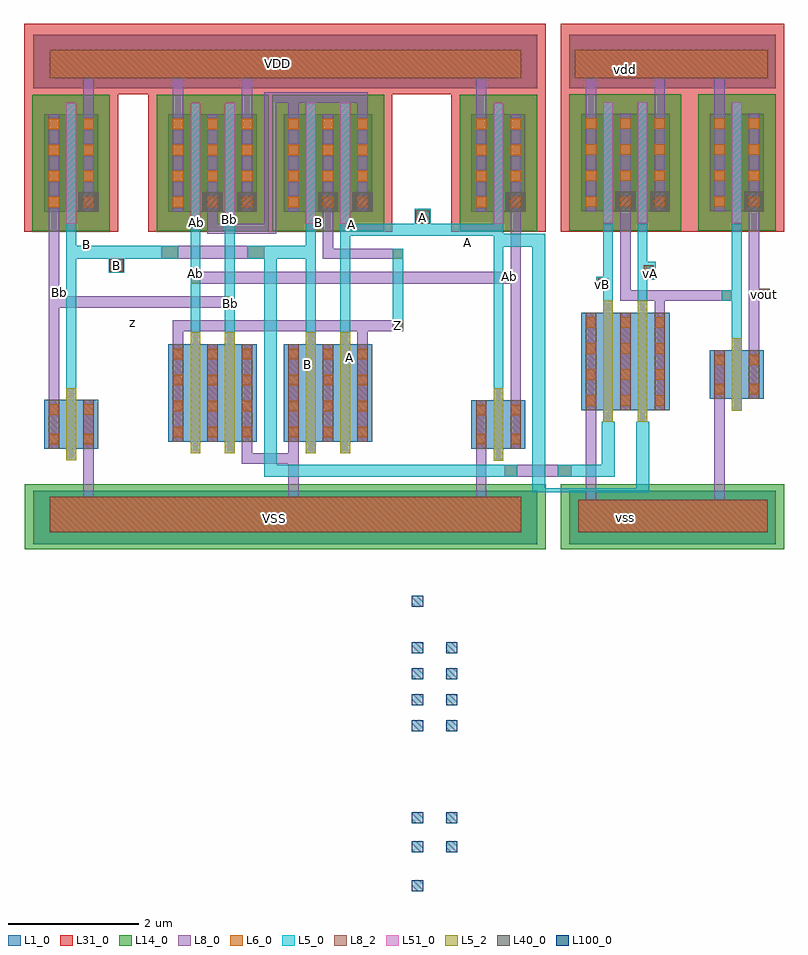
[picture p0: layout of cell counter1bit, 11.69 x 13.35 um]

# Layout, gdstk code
from math import pi, radians
import gdstk
lib = gdstk.Library(unit=1e-6, precision=5e-09)
def R(c, l, rs):  # rectangles x0, y0, x1, y1
    for r in rs: c.add(gdstk.rectangle(r[:2], r[2:], *l))
def A(c, l, x, y, w, h, nx, ny, dx, dy):  # array of equal rectangles
    R(c, l, [(x+i*dx, y+j*dy, x+i*dx+w, y+j*dy+h) for i in range(nx) for j in range(ny)])
def P(c, l, *ps):  # polygons
    for p in ps: c.add(gdstk.Polygon(p, *l))
L1_0 = (1, 0)
L5_0 = (5, 0)
L5_2 = (5, 2)
L6_0 = (6, 0)
L8_0 = (8, 0)
L8_2 = (8, 2)
L14_0 = (14, 0)
L31_0 = (31, 0)
L40_0 = (40, 0)
L51_0 = (51, 0)
L100_0 = (100, 0)

nmos_1 = lib.new_cell('nmos$1')
R(nmos_1, L1_0, [(0,0,0.3,0.3), (0,0,0.83,0.75), (0.53,0,0.83,0.3)])
R(nmos_1, L5_0, [(0.34,-0.18,0.49,0.93)])
R(nmos_1, L5_2, [(0.34,-0.18,0.49,0.93)])
R(nmos_1, L6_0, [(0.07,0.07,0.23,0.23), (0.6,0.07,0.76,0.23), (0.07,0.52,0.23,0.68), (0.6,0.52,0.76,0.68)])
R(nmos_1, L8_0, [(0.07,0,0.23,0.75), (0.6,0,0.76,0.75)])
R(nmos_1, L8_2, [(0.07,0,0.23,0.75), (0.6,0,0.76,0.75)])
R(nmos_1, L51_0, [(0.34,-0.18,0.49,0.93)])
nmos_1.add(gdstk.Label('nmos', (0.415,0.375), layer=63, texttype=0))
nmos_1.add(gdstk.Label('nmos', (0.415,0.375), layer=51, texttype=0))

pmos_1 = lib.new_cell('pmos$1')
R(pmos_1, L1_0, [(0,0,0.3,0.3), (0,0,0.83,1.5), (0.53,0,0.83,0.3)])
R(pmos_1, L5_0, [(0.34,-0.18,0.49,1.68), (0.34,-0.18,0.49,1.68)])
A(pmos_1, L6_0, 0.07, 0.07, 0.16, 0.16, 1, 4, 0, 0.4)
A(pmos_1, L6_0, 0.6, 0.07, 0.16, 0.16, 1, 4, 0, 0.4)
R(pmos_1, L8_0, [(0.07,0,0.23,1.5), (0.07,0,0.23,1.5), (0.6,0,0.76,1.5), (0.6,0,0.76,1.5)])
R(pmos_1, L14_0, [(-0.18,-0.3,1.01,1.8)])
R(pmos_1, L31_0, [(-0.31,-0.31,1.14,1.81)])
R(pmos_1, L40_0, [(0.53,0,0.83,0.3)])
R(pmos_1, L51_0, [(0.34,-0.18,0.49,1.68)])
pmos_1.add(gdstk.Label('pmos', (0.415,0.75), layer=63, texttype=0))
pmos_1.add(gdstk.Label('pmos', (0.415,0.75), layer=51, texttype=0))

nmos = lib.new_cell('nmos')
R(nmos, L1_0, [(0,0,0.3,0.3), (0,0,0.83,1.5), (0.53,0,0.83,0.3)])
R(nmos, L5_0, [(0.34,-0.18,0.49,1.68)])
R(nmos, L5_2, [(0.34,-0.18,0.49,1.68)])
A(nmos, L6_0, 0.07, 0.07, 0.16, 0.16, 1, 4, 0, 0.4)
A(nmos, L6_0, 0.6, 0.07, 0.16, 0.16, 1, 4, 0, 0.4)
R(nmos, L8_0, [(0.07,0,0.23,1.5), (0.6,0,0.76,1.5)])
R(nmos, L8_2, [(0.07,0,0.23,1.5), (0.6,0,0.76,1.5)])
R(nmos, L51_0, [(0.34,-0.18,0.49,1.68)])
nmos.add(gdstk.Label('nmos', (0.415,0.75), layer=63, texttype=0))
nmos.add(gdstk.Label('nmos', (0.415,0.75), layer=51, texttype=0))

pmos = lib.new_cell('pmos')
R(pmos, L1_0, [(0,0,0.3,0.3), (0,0,0.83,1.5), (0.53,0,0.83,0.3)])
R(pmos, L5_0, [(0.34,-0.18,0.49,1.68), (0.34,-0.18,0.49,1.68)])
A(pmos, L6_0, 0.07, 0.07, 0.16, 0.16, 1, 4, 0, 0.4)
A(pmos, L6_0, 0.6, 0.07, 0.16, 0.16, 1, 4, 0, 0.4)
R(pmos, L8_0, [(0.07,0,0.23,1.5), (0.07,0,0.23,1.5), (0.6,0,0.76,1.5), (0.6,0,0.76,1.5)])
R(pmos, L14_0, [(-0.18,-0.3,1.01,1.8)])
R(pmos, L31_0, [(-0.31,-0.31,1.14,1.81)])
R(pmos, L40_0, [(0.53,0,0.83,0.3)])
R(pmos, L51_0, [(0.34,-0.18,0.49,1.68)])
pmos.add(gdstk.Label('pmos', (0.415,0.75), layer=63, texttype=0))
pmos.add(gdstk.Label('pmos', (0.415,0.75), layer=51, texttype=0))

pmos_1_1 = lib.new_cell('pmos$1$1')
R(pmos_1_1, L1_0, [(0,0,0.3,0.3), (0,0,0.83,1.5), (0.53,0,0.83,0.3)])
R(pmos_1_1, L5_0, [(0.34,-0.18,0.49,1.68), (0.34,-0.18,0.49,1.68)])
A(pmos_1_1, L6_0, 0.07, 0.07, 0.16, 0.16, 1, 4, 0, 0.4)
A(pmos_1_1, L6_0, 0.6, 0.07, 0.16, 0.16, 1, 4, 0, 0.4)
R(pmos_1_1, L8_0, [(0.07,0,0.23,1.5), (0.07,0,0.23,1.5), (0.6,0,0.76,1.5), (0.6,0,0.76,1.5)])
R(pmos_1_1, L14_0, [(-0.18,-0.3,1.01,1.8)])
R(pmos_1_1, L31_0, [(-0.31,-0.31,1.14,1.81)])
R(pmos_1_1, L40_0, [(0.53,0,0.83,0.3)])
R(pmos_1_1, L51_0, [(0.34,-0.18,0.49,1.68)])
pmos_1_1.add(gdstk.Label('pmos', (0.415,0.75), layer=63, texttype=0))
pmos_1_1.add(gdstk.Label('pmos', (0.415,0.75), layer=51, texttype=0))

nmos_2 = lib.new_cell('nmos$2')
R(nmos_2, L1_0, [(0,0,0.3,0.3), (0,0,0.83,0.75), (0.53,0,0.83,0.3)])
R(nmos_2, L5_0, [(0.34,-0.18,0.49,0.93)])
R(nmos_2, L5_2, [(0.34,-0.18,0.49,0.93)])
R(nmos_2, L6_0, [(0.07,0.07,0.23,0.23), (0.6,0.07,0.76,0.23), (0.07,0.52,0.23,0.68), (0.6,0.52,0.76,0.68)])
R(nmos_2, L8_0, [(0.07,0,0.23,0.75), (0.6,0,0.76,0.75)])
R(nmos_2, L8_2, [(0.07,0,0.23,0.75), (0.6,0,0.76,0.75)])
R(nmos_2, L51_0, [(0.34,-0.18,0.49,0.93)])
nmos_2.add(gdstk.Label('nmos', (0.415,0.375), layer=63, texttype=0))
nmos_2.add(gdstk.Label('nmos', (0.415,0.375), layer=51, texttype=0))

nmos_1_1 = lib.new_cell('nmos$1$1')
R(nmos_1_1, L1_0, [(0,0,0.3,0.3), (0,0,0.83,1.5), (0.53,0,0.83,0.3)])
R(nmos_1_1, L5_0, [(0.34,-0.18,0.49,1.68)])
R(nmos_1_1, L5_2, [(0.34,-0.18,0.49,1.68)])
A(nmos_1_1, L6_0, 0.07, 0.07, 0.16, 0.16, 1, 4, 0, 0.4)
A(nmos_1_1, L6_0, 0.6, 0.07, 0.16, 0.16, 1, 4, 0, 0.4)
R(nmos_1_1, L8_0, [(0.07,0,0.23,1.5), (0.6,0,0.76,1.5)])
R(nmos_1_1, L8_2, [(0.07,0,0.23,1.5), (0.6,0,0.76,1.5)])
R(nmos_1_1, L51_0, [(0.34,-0.18,0.49,1.68)])
nmos_1_1.add(gdstk.Label('nmos', (0.415,0.75), layer=63, texttype=0))
nmos_1_1.add(gdstk.Label('nmos', (0.415,0.75), layer=51, texttype=0))

counter1bit = lib.new_cell('counter1bit')
R(counter1bit, L1_0, [(-6.2,3.795,1.55,4.62), (2.04,3.795,5.21,4.62), (-6.2,10.81,1.55,11.635), (2.04,10.81,5.21,11.635)])
R(counter1bit, L5_0, [(-3.255,7.05,-3.105,8.73), (-3.785,7.055,-3.635,8.73), (-0.675,7.07,-0.515,8.345)])
P(counter1bit, L5_0, [(4.54,6.965),(4.54,7.54),(4.38,7.54),(4.38,7.705),(4.54,7.705),(4.54,8.755),(4.69,8.755),(4.69,6.965)],
  [(3.09,7.54),(3.09,8.735),(3.24,8.735),(3.24,8.14),(3.365,8.14),(3.365,7.865),(3.24,7.865),(3.24,7.54)],
  [(2.56,7.535),(2.56,7.71),(2.45,7.71),(2.45,7.91),(2.56,7.91),(2.56,8.735),(2.71,8.735),(2.71,7.535)],
  [(1.47,4.6),(1.47,8.375),(1.025,8.375),(1.025,6.195),(0.875,6.195),(0.875,8.54),(-1.33,8.54),(-1.33,7.055),(-1.48,7.055),(-1.48,8.73),(-0.34,8.73),(-0.34,8.955),(-0.09,8.955),(-0.09,8.73),(1.025,8.73),(1.025,8.575),(1.67,8.575),(1.67,4.66),(3.065,4.66),(3.065,5.68),(3.265,5.68),(3.265,4.6)],
  [(1.86,4.84),(1.86,5.02),(2.535,5.02),(2.535,5.68),(2.735,5.68),(2.735,4.84)],
  [(-2.655,4.84),(-2.655,8.185),(-2.91,8.185),(-2.91,8.385),(-2.01,8.385),(-2.01,8.73),(-1.86,8.73),(-1.86,7.055),(-2.01,7.055),(-2.01,8.185),(-2.46,8.185),(-2.46,5.02),(1.24,5.02),(1.24,4.84)],
  [(-5.695,6.2),(-5.695,8.73),(-5.545,8.73),(-5.545,8.385),(-3.97,8.385),(-3.97,8.185),(-4.8,8.185),(-4.8,7.975),(-5.045,7.975),(-5.045,8.185),(-5.545,8.185),(-5.545,6.2)])
R(counter1bit, L6_0, [(-5.95,3.985,1.3,4.53), (2.18,3.985,5.09,4.48), (1.05,4.84,1.24,5.02), (1.86,4.84,2.07,5.02), (-0.675,7.07,-0.515,7.245), (-3.255,7.435,-3.105,7.615), (4.38,7.54,4.54,7.705), (4.96,7.57,5.12,7.73), (2.475,7.73,2.635,7.89), (-3.785,7.805,-3.635,7.99), (3.18,7.885,3.34,8.085), (-5.025,7.99,-4.82,8.185), (-4.235,8.185,-3.97,8.385), (-2.91,8.185,-2.655,8.385), (-0.675,8.185,-0.515,8.345), (-0.32,8.73,-0.11,8.935), (-5.95,10.965,1.3,11.405), (2.125,10.965,5.09,11.405)])
R(counter1bit, L8_0, [(1.05,4.84,2.07,5.02), (2.475,7.73,2.635,7.89), (3.18,7.885,3.34,8.085), (-5.025,7.99,-4.82,8.185), (-4.235,8.185,-2.655,8.385), (-0.32,8.73,-0.11,8.935)])
P(counter1bit, L8_0, [(2.29,10.415),(2.29,10.965),(2.125,10.965),(2.125,11.405),(5.09,11.405),(5.09,10.965),(4.43,10.965),(4.43,10.415),(4.27,10.415),(4.27,10.965),(3.51,10.965),(3.51,10.415),(3.35,10.415),(3.35,10.965),(2.45,10.965),(2.45,10.415)],
  [(2.18,3.985),(2.18,4.48),(2.29,4.48),(2.29,5.89),(2.45,5.89),(2.45,4.48),(4.27,4.48),(4.27,6.065),(4.43,6.065),(4.43,4.48),(5.09,4.48),(5.09,3.985)],
  [(4.8,6.785),(4.8,8.935),(4.96,8.935),(4.96,7.73),(5.12,7.73),(5.12,7.57),(4.96,7.57),(4.96,6.785)],
  [(3.35,7.36),(3.35,7.54),(2.82,7.54),(2.82,8.915),(2.98,8.915),(2.98,7.705),(4.54,7.705),(4.54,7.54),(3.51,7.54),(3.51,7.36)],
  [(-4.055,6.875),(-4.055,7.245),(-0.515,7.245),(-0.515,7.07),(-1.06,7.07),(-1.06,6.875),(-1.22,6.875),(-1.22,7.07),(-3.895,7.07),(-3.895,6.875)],
  [(-5.95,3.985),(-5.95,4.53),(-5.435,4.53),(-5.435,5.27),(-5.275,5.27),(-5.275,4.53),(-2.28,4.53),(-2.28,5.035),(-2.995,5.035),(-2.995,5.435),(-2.835,5.435),(-2.835,5.195),(-2.28,5.195),(-2.28,5.375),(-2.12,5.375),(-2.12,4.53),(0.605,4.53),(0.605,5.265),(0.765,5.265),(0.765,4.53),(1.3,4.53),(1.3,3.985)],
  [(-5.435,10.405),(-5.435,10.965),(-5.95,10.965),(-5.95,11.405),(1.3,11.405),(1.3,10.965),(0.765,10.965),(0.765,10.41),(0.605,10.41),(0.605,10.965),(-2.835,10.965),(-2.835,10.41),(-2.995,10.41),(-2.995,10.965),(-3.895,10.965),(-3.895,10.41),(-4.055,10.41),(-4.055,10.965),(-5.275,10.965),(-5.275,10.405)],
  [(-1.75,8.185),(-1.75,8.91),(-1.59,8.91),(-1.59,8.345),(-0.515,8.345),(-0.515,8.185)],
  [(-3.525,8.57),(-3.525,8.91),(-3.365,8.91),(-3.365,8.73),(-2.655,8.73),(-2.655,10.75),(-1.06,10.75),(-1.06,10.41),(-1.22,10.41),(-1.22,10.59),(-2.12,10.59),(-2.12,10.41),(-2.28,10.41),(-2.28,10.59),(-2.47,10.59),(-2.47,8.57)],
  [(1.135,6.015),(1.135,7.805),(-3.785,7.805),(-3.785,7.99),(1.135,7.99),(1.135,8.91),(1.295,8.91),(1.295,6.015)],
  [(-5.965,6.02),(-5.965,8.91),(-5.805,8.91),(-5.805,7.615),(-3.105,7.615),(-3.105,7.435),(-5.805,7.435),(-5.805,6.02)])
R(counter1bit, L8_2, [(-5.95,3.985,1.3,4.53), (2.18,3.985,5.09,4.48), (-0.675,7.07,-0.515,7.245), (4.96,7.57,5.12,7.73), (2.475,7.73,2.635,7.89), (3.18,7.885,3.34,8.085), (-5.025,7.99,-4.82,8.185), (-0.32,8.73,-0.11,8.935), (-5.95,10.965,1.3,11.405), (2.125,10.965,5.09,11.405)])
R(counter1bit, L14_0, [(-6.33,3.725,1.675,4.72), (1.91,3.725,5.34,4.72)])
R(counter1bit, L31_0, [(-6.345,10.72,1.675,11.805), (1.91,10.72,5.34,11.805)])
R(counter1bit, L100_0, [(-0.38,-1.54,-0.21,-1.37), (-0.38,-1.54,-0.21,-1.37), (-0.38,-0.94,-0.21,-0.77), (-0.38,-0.94,-0.21,-0.77), (0.15,-0.94,0.32,-0.77), (0.15,-0.94,0.32,-0.77), (-0.38,-0.49,-0.21,-0.32), (-0.38,-0.49,-0.21,-0.32), (0.15,-0.49,0.32,-0.32), (0.15,-0.49,0.32,-0.32), (-0.38,0.92,-0.21,1.09), (-0.38,0.92,-0.21,1.09), (0.15,0.92,0.32,1.09), (0.15,0.92,0.32,1.09), (-0.38,1.32,-0.21,1.49), (-0.38,1.32,-0.21,1.49), (0.15,1.32,0.32,1.49), (0.15,1.32,0.32,1.49), (-0.38,1.72,-0.21,1.89), (-0.38,1.72,-0.21,1.89), (0.15,1.72,0.32,1.89), (0.15,1.72,0.32,1.89), (-0.38,2.12,-0.21,2.29), (-0.38,2.12,-0.21,2.29), (0.15,2.12,0.32,2.29), (0.15,2.12,0.32,2.29), (-0.38,2.84,-0.21,3.01), (-0.38,2.84,-0.21,3.01)])
counter1bit.add(gdstk.Reference(nmos_1, (4.2,6.035)))
counter1bit.add(gdstk.Reference(pmos_1, (4.2,8.915)))
counter1bit.add(gdstk.Reference(nmos, (2.22,5.86)))
counter1bit.add(gdstk.Reference(pmos, (2.22,8.915)))
counter1bit.add(gdstk.Reference(pmos, (2.75,8.915)))
counter1bit.add(gdstk.Reference(nmos, (2.75,5.86)))
counter1bit.add(gdstk.Reference(pmos_1_1, (-6.035,8.91)))
counter1bit.add(gdstk.Reference(pmos_1_1, (-4.125,8.91)))
counter1bit.add(gdstk.Reference(pmos_1_1, (-3.595,8.91)))
counter1bit.add(gdstk.Reference(pmos_1_1, (-1.82,8.91)))
counter1bit.add(gdstk.Reference(pmos_1_1, (-2.35,8.91)))
counter1bit.add(gdstk.Reference(nmos_2, (1.365,6.015), rotation=pi))
counter1bit.add(gdstk.Reference(nmos_1_1, (-3.595,5.375)))
counter1bit.add(gdstk.Reference(nmos_1_1, (-4.125,5.375)))
counter1bit.add(gdstk.Reference(nmos_1_1, (-1.82,5.375)))
counter1bit.add(gdstk.Reference(nmos_1_1, (-2.35,5.375)))
counter1bit.add(gdstk.Reference(nmos_2, (-5.205,6.02), rotation=pi))
counter1bit.add(gdstk.Reference(pmos_1_1, (0.535,8.91)))
counter1bit.add(gdstk.Label('Ab', (-3.705,7.96), layer=63, texttype=0))
counter1bit.add(gdstk.Label('Bb', (-3.17,7.505), layer=63, texttype=0))
counter1bit.add(gdstk.Label('A', (-1.335,6.665), layer=63, texttype=0))
counter1bit.add(gdstk.Label('B', (-1.98,6.57), layer=63, texttype=0))
counter1bit.add(gdstk.Label('z', (-4.675,7.215), layer=63, texttype=0))
counter1bit.add(gdstk.Label('A', (0.475,8.44), layer=63, texttype=0))
counter1bit.add(gdstk.Label('Bb', (-5.8,7.67), layer=63, texttype=0))
counter1bit.add(gdstk.Label('B', (-5.39,8.41), layer=63, texttype=0))
counter1bit.add(gdstk.Label('B', (-1.815,8.745), layer=63, texttype=0))
counter1bit.add(gdstk.Label('A', (-1.305,8.71), layer=63, texttype=0))
counter1bit.add(gdstk.Label('Ab', (1.115,7.915), layer=63, texttype=0))
counter1bit.add(gdstk.Label('Bb', (-3.18,8.795), layer=63, texttype=0))
counter1bit.add(gdstk.Label('Ab', (-3.7,8.75), layer=63, texttype=0))
counter1bit.add(gdstk.Label('vout', (5.045,7.645), layer=8, texttype=2))
counter1bit.add(gdstk.Label('vB', (2.55,7.8), layer=8, texttype=2))
counter1bit.add(gdstk.Label('vA', (3.28,7.965), layer=8, texttype=2))
counter1bit.add(gdstk.Label('vdd', (2.91,11.105), layer=8, texttype=2))
counter1bit.add(gdstk.Label('vss', (2.905,4.21), layer=8, texttype=2))
counter1bit.add(gdstk.Label('VDD', (-2.44,11.185), layer=8, texttype=2))
counter1bit.add(gdstk.Label('VSS', (-2.495,4.195), layer=8, texttype=2))
counter1bit.add(gdstk.Label('B', (-4.92,8.08), layer=8, texttype=2))
counter1bit.add(gdstk.Label('A', (-0.22,8.83), layer=8, texttype=2))
counter1bit.add(gdstk.Label('Z', (-0.595,7.155), layer=8, texttype=2))

lib.write_gds('counter1bit.gds')
